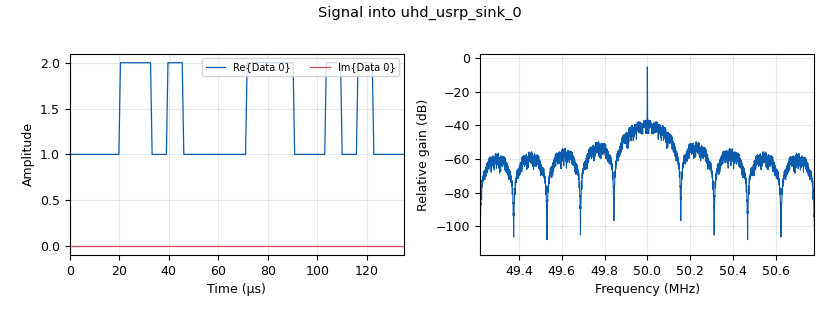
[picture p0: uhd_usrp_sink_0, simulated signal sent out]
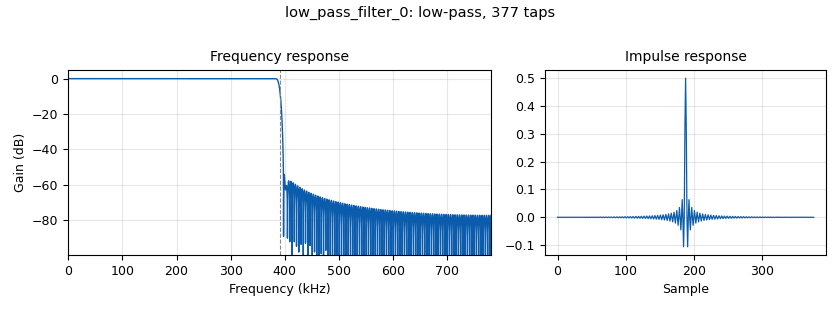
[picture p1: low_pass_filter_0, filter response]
options:
  parameters:
    author: lab comu2 grupo 5
    generate_options: qt_gui
    id: Modulacion_ASK
    output_language: python
    title: Sindy Chapeta, Diego Calderon
  states: {}

blocks:
- name: Ac
  id: variable_qtgui_range
  parameters:
    label: Amplitud de la portadora
    start: '0'
    step: '0.1'
    stop: '2'
    value: '1'
  states: {}
- name: GRX
  id: variable_qtgui_range
  parameters:
    label: ganancia del RX
    start: '0'
    step: '500e-3'
    stop: '31'
    value: '0'
  states: {}
- name: GTX
  id: variable_qtgui_range
  parameters:
    label: ganancia del TX
    start: '0'
    step: '1'
    stop: '30'
    value: '0'
  states: {}
- name: fa
  id: variable_qtgui_range
  parameters:
    label: frecuencia del filtro
    start: '0'
    step: 1.5625e3
    stop: 781.25e3
    value: 390.625e3
  states: {}
- name: fc
  id: variable_qtgui_range
  parameters:
    label: frecuencia de portadora
    start: 50e6
    step: 1e6
    stop: 2200e6
    value: 50e6
  states: {}
- name: interpolation
  id: variable_qtgui_range
  parameters:
    start: '10'
    step: '10'
    stop: '100'
    value: '10'
  states: {}
- name: ka
  id: variable_qtgui_range
  parameters:
    label: coeficiente de sensibilidad ka
    start: '0'
    step: '0.1'
    stop: '2'
    value: '1'
  states: {}
- name: samp_rate
  id: variable
  parameters:
    value: 1.5625e6
  states: {}
- name: analog_random_source_x_0
  id: analog_random_source_x
  parameters:
    max: '2'
    min: '0'
    num_samps: '100000'
    repeat: 'True'
    type: byte
  states: {}
- name: blocks_add_const_vxx_0
  id: blocks_add_const_vxx
  parameters:
    const: '1'
    type: float
  states: {}
- name: blocks_complex_to_mag_0
  id: blocks_complex_to_mag
  parameters: {}
  states: {}
- name: blocks_complex_to_mag_0_0
  id: blocks_complex_to_mag
  parameters: {}
  states: {}
- name: blocks_float_to_complex_0
  id: blocks_float_to_complex
  parameters: {}
  states: {}
- name: blocks_multiply_const_vxx_0
  id: blocks_multiply_const_vxx
  parameters:
    const: ka
    type: float
  states: {}
- name: blocks_multiply_const_vxx_0_0
  id: blocks_multiply_const_vxx
  parameters:
    const: Ac
    type: complex
  states: {}
- name: blocks_null_source_0
  id: blocks_null_source
  parameters:
    type: float
  states: {}
- name: blocks_repeat_0
  id: blocks_repeat
  parameters:
    interp: interpolation
    type: float
  states: {}
- name: blocks_uchar_to_float_0
  id: blocks_uchar_to_float
  parameters: {}
  states: {}
- name: low_pass_filter_0
  id: low_pass_filter
  parameters:
    cutoff_freq: fa
    decim: '1'
    gain: '1'
    samp_rate: samp_rate
    type: fir_filter_ccf
    width: 10e3
    win: window.WIN_HAMMING
  states: {}
- name: qtgui_freq_sink_x_0
  id: qtgui_freq_sink_x
  parameters:
    bw: samp_rate
    fc: '0'
    fftsize: '1024'
    nconnections: '2'
    type: complex
  states: {}
- name: qtgui_time_sink_x_0_0
  id: qtgui_time_sink_x
  parameters:
    nconnections: '2'
    size: '1024'
    srate: samp_rate
    type: float
  states: {}
- name: uhd_usrp_sink_0
  id: uhd_usrp_sink
  parameters:
    ant0: '"TX/RX"'
    center_freq0: fc
    gain0: GTX
    samp_rate: samp_rate
    sync: pc_clock
    type: fc32
  states: {}
- name: uhd_usrp_source_0
  id: uhd_usrp_source
  parameters:
    ant0: '"RX2"'
    center_freq0: fc
    gain0: GRX
    samp_rate: samp_rate
    sync: pc_clock
    type: fc32
  states: {}

connections:
- [analog_random_source_x_0, '0', blocks_uchar_to_float_0, '0']
- [blocks_add_const_vxx_0, '0', blocks_float_to_complex_0, '0']
- [blocks_complex_to_mag_0, '0', qtgui_time_sink_x_0_0, '1']
- [blocks_complex_to_mag_0_0, '0', qtgui_time_sink_x_0_0, '0']
- [blocks_float_to_complex_0, '0', blocks_multiply_const_vxx_0_0, '0']
- [blocks_multiply_const_vxx_0, '0', blocks_add_const_vxx_0, '0']
- [blocks_multiply_const_vxx_0_0, '0', blocks_complex_to_mag_0_0, '0']
- [blocks_multiply_const_vxx_0_0, '0', qtgui_freq_sink_x_0, '0']
- [blocks_multiply_const_vxx_0_0, '0', uhd_usrp_sink_0, '0']
- [blocks_null_source_0, '0', blocks_float_to_complex_0, '1']
- [blocks_repeat_0, '0', blocks_multiply_const_vxx_0, '0']
- [blocks_uchar_to_float_0, '0', blocks_repeat_0, '0']
- [low_pass_filter_0, '0', blocks_complex_to_mag_0, '0']
- [low_pass_filter_0, '0', qtgui_freq_sink_x_0, '1']
- [uhd_usrp_source_0, '0', low_pass_filter_0, '0']

metadata:
  file_format: 1
